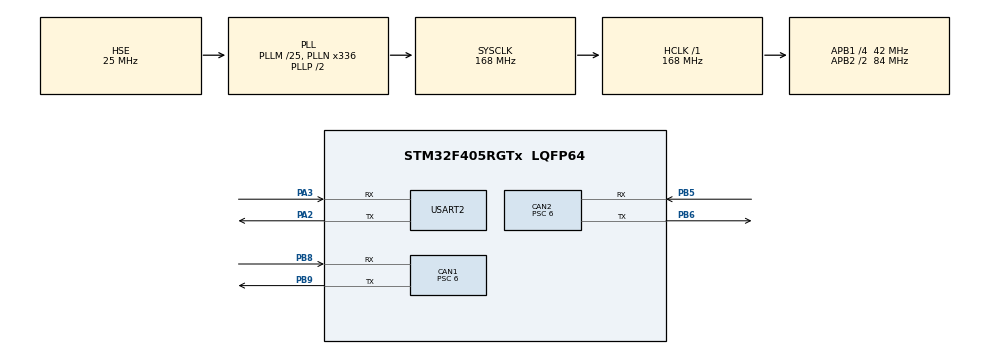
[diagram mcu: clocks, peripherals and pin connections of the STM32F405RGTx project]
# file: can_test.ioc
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CAN1.BS1=CAN_BS1_4TQ
CAN1.BS2=CAN_BS2_2TQ
CAN1.CalculateBaudRate=1000000
CAN1.CalculateTimeBit=1000
CAN1.CalculateTimeQuantum=142.85714285714286
CAN1.Prescaler=6
CAN2.BS1=CAN_BS1_4TQ
CAN2.BS2=CAN_BS2_2TQ
CAN2.CalculateBaudRate=1000000
CAN2.CalculateTimeBit=1000
CAN2.CalculateTimeQuantum=142.85714285714286
CAN2.Prescaler=6
Mcu.Family=STM32F4
Mcu.Name=STM32F405RGTx
Mcu.Package=LQFP64
NVIC.CAN1_RX0_IRQn=true\:0\:0\:false\:false\:true\:true\:true\:true
NVIC.CAN1_SCE_IRQn=true\:0\:0\:false\:false\:true\:true\:true\:true
NVIC.CAN2_RX1_IRQn=true\:0\:0\:false\:false\:true\:true\:true\:true
NVIC.CAN2_SCE_IRQn=true\:0\:0\:false\:false\:true\:true\:true\:true
NVIC.PriorityGroup=NVIC_PRIORITYGROUP_4
PA13.Mode=Serial_Wire
PA13.Signal=SYS_JTMS-SWDIO
PA14.Mode=Serial_Wire
PA14.Signal=SYS_JTCK-SWCLK
PA2.Mode=Asynchronous
PA2.Signal=USART2_TX
PA3.Mode=Asynchronous
PA3.Signal=USART2_RX
PB5.Mode=CAN_Activate
PB5.Signal=CAN2_RX
PB6.Mode=CAN_Activate
PB6.Signal=CAN2_TX
PB8.Mode=CAN_Activate
PB8.Signal=CAN1_RX
PB9.Mode=CAN_Activate
PB9.Signal=CAN1_TX
PC14-OSC32_IN.Mode=LSE-External-Oscillator
PC14-OSC32_IN.Signal=RCC_OSC32_IN
PC15-OSC32_OUT.Mode=LSE-External-Oscillator
PC15-OSC32_OUT.Signal=RCC_OSC32_OUT
PH0-OSC_IN.Mode=HSE-External-Oscillator
PH0-OSC_IN.Signal=RCC_OSC_IN
PH1-OSC_OUT.Mode=HSE-External-Oscillator
PH1-OSC_OUT.Signal=RCC_OSC_OUT
ProjectManager.HeapSize=0x200
ProjectManager.StackSize=0x400
ProjectManager.TargetToolchain=MDK-ARM V5
RCC.48MHZClocksFreq_Value=84000000
RCC.AHBFreq_Value=168000000
RCC.APB1CLKDivider=RCC_HCLK_DIV4
RCC.APB1Freq_Value=42000000
RCC.APB1TimFreq_Value=84000000
RCC.APB2CLKDivider=RCC_HCLK_DIV2
RCC.APB2Freq_Value=84000000
RCC.APB2TimFreq_Value=168000000
RCC.CortexFreq_Value=168000000
RCC.HCLKFreq_Value=168000000
RCC.HSE_VALUE=25000000
RCC.HSI_VALUE=16000000
RCC.PLLM=25
RCC.PLLN=336
RCC.PLLSourceVirtual=RCC_PLLSOURCE_HSE
RCC.SYSCLKFreq_VALUE=168000000
RCC.SYSCLKSource=RCC_SYSCLKSOURCE_PLLCLK
RCC.VCOOutputFreq_Value=336000000
USART2.VirtualMode=VM_ASYNC
board=custom

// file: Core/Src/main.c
/* USER CODE BEGIN Header */
/**
  ******************************************************************************
  * @file           : main.c
  * @brief          : Main program body
  ******************************************************************************
  * @attention
  *
  * Copyright (c) 2023 STMicroelectronics.
  * All rights reserved.
  *
  * This software is licensed under terms that can be found in the LICENSE file
  * in the root directory of this software component.
  * If no LICENSE file comes with this software, it is provided AS-IS.
  *
  ******************************************************************************
  */
/* USER CODE END Header */
#include "main.h"
#include "can.h"
#include "usart.h"
#include "gpio.h"

/* USER CODE BEGIN Includes */
#include "can_bsp.h"
#include "stdio.h"
#include "RM3508.h"
/* USER CODE END Includes */

void SystemClock_Config(void);

/* USER CODE BEGIN 0 */
int fputc(int ch, FILE *f)
{
  HAL_UART_Transmit(&huart2, (uint8_t *)&ch, 1, 0xffff);
  return ch;
}

int value1 = 1000;

/* USER CODE END 0 */

int main(void)
{

  /* MCU Configuration--------------------------------------------------------*/

  /* Reset of all peripherals, Initializes the Flash interface and the Systick. */
  HAL_Init();

  /* USER CODE BEGIN Init */

//	RCC_APB1PeriphClockCmd(RCC_APB1Periph_CAN1, ENABLE);//使能CAN1时钟
//	RCC_APB1PeriphClockCmd(RCC_APB1Periph_CAN2, ENABLE);//使能CAN2时钟

  /* USER CODE END Init */

  /* Configure the system clock */
  SystemClock_Config();

  /* Initialize all configured peripherals */
  MX_GPIO_Init();
  MX_CAN1_Init();
  MX_CAN2_Init();
  MX_USART2_UART_Init();
  /* USER CODE BEGIN 2 */
	CAN_Init(&hcan1);
	CAN_Init(&hcan2);

  /* USER CODE END 2 */

  /* Infinite loop */
  /* USER CODE BEGIN WHILE */
  int32_t speed;
  int32_t I;
  int32_t Pos;
//  RM3508_Set_Speed(1000,2);

  while (1)
  {
//	  for(int i=0; i<2000; i++)
//	  {
	  RM3508_Set_Speed(value1,1);
	  HAL_Delay(1);
//	  RM3508_Set_Speed(-1000,2);
	  HAL_Delay(1);

////	  }
//	  for(int i=0; i<2000; i++)
//	  {
//	  RM3508_Set_Speed(-1000,1);
//	  HAL_Delay(1);
//
//	  }

//	  RM3508_Set_I(300,1);
//	  RM3508_Set_Pos(4000,1);
	  speed = RM3508_Get_Speed(1);
	  I = RM3508_Get_Torque(1);
	  Pos = RM3508_Get_Pos(1);
	  printf("A:%d,%d,%d\n",speed,I,Pos);
//	  printf("B:%d\n",I);
//	  printf("C:%d\n",Pos);

//	  for(uint16_t i=0;i<8000;i++)
//	  {
//		  RM3508_Set_Pos(i,4);
//
//		  HAL_Delay(1);
//	  }
    /* USER CODE END WHILE */

  }
}

void SystemClock_Config(void)
{
  RCC_OscInitTypeDef RCC_OscInitStruct = {0};
  RCC_ClkInitTypeDef RCC_ClkInitStruct = {0};

  /** Configure the main internal regulator output voltage
  */
  __HAL_RCC_PWR_CLK_ENABLE();
  __HAL_PWR_VOLTAGESCALING_CONFIG(PWR_REGULATOR_VOLTAGE_SCALE1);

  /** Initializes the RCC Oscillators according to the specified parameters
  * in the RCC_OscInitTypeDef structure.
  */
  RCC_OscInitStruct.OscillatorType = RCC_OSCILLATORTYPE_HSE;
  RCC_OscInitStruct.HSEState = RCC_HSE_ON;
  RCC_OscInitStruct.PLL.PLLState = RCC_PLL_ON;
  RCC_OscInitStruct.PLL.PLLSource = RCC_PLLSOURCE_HSE;
  RCC_OscInitStruct.PLL.PLLM = 25;
  RCC_OscInitStruct.PLL.PLLN = 336;
  RCC_OscInitStruct.PLL.PLLP = RCC_PLLP_DIV2;
  RCC_OscInitStruct.PLL.PLLQ = 4;
  if (HAL_RCC_OscConfig(&RCC_OscInitStruct) != HAL_OK)
  {
    Error_Handler();
  }

  /** Initializes the CPU, AHB and APB buses clocks
  */
  RCC_ClkInitStruct.ClockType = RCC_CLOCKTYPE_HCLK|RCC_CLOCKTYPE_SYSCLK
                              |RCC_CLOCKTYPE_PCLK1|RCC_CLOCKTYPE_PCLK2;
  RCC_ClkInitStruct.SYSCLKSource = RCC_SYSCLKSOURCE_PLLCLK;
  RCC_ClkInitStruct.AHBCLKDivider = RCC_SYSCLK_DIV1;
  RCC_ClkInitStruct.APB1CLKDivider = RCC_HCLK_DIV4;
  RCC_ClkInitStruct.APB2CLKDivider = RCC_HCLK_DIV2;

  if (HAL_RCC_ClockConfig(&RCC_ClkInitStruct, FLASH_LATENCY_5) != HAL_OK)
  {
    Error_Handler();
  }
}

/* USER CODE BEGIN 4 */

 void HAL_CAN_RxFifo0MsgPendingCallback(CAN_HandleTypeDef *hcan)
{
	if(hcan->Instance == hcan1.Instance)
	{
		CAN_RxHeaderTypeDef RxMessage;
		uint8_t RxData[8] = {0};

		HAL_CAN_GetRxMessage(hcan, CAN_RX_FIFO0, &RxMessage, RxData);
		if(RxMessage.StdId>=0x201 && RxMessage.StdId<=0x208)
		{
			RM3508_Get_Feedback(RxMessage.StdId,RxData);
		}

	}
 }

 void HAL_CAN_RxFifo1MsgPendingCallback(CAN_HandleTypeDef *hcan)
{
	if(hcan->Instance == hcan2.Instance)
	{
		CAN_RxHeaderTypeDef RxMessage;
		uint8_t RxData[8] = {0};

		HAL_CAN_GetRxMessage(hcan, CAN_RX_FIFO1, &RxMessage, RxData);
		if(RxMessage.StdId>=0x201 && RxMessage.StdId<=0x208)
		{
			RM3508_Get_Feedback(RxMessage.StdId,RxData);
		}

	}
 }

//void HAL_CAN_RxFifo0MsgPendingCallback(CAN_HandleTypeDef *hcan)
//{
//  if (hcan->Instance == hcan1.Instance)
//  {
//    CAN_RxHeaderTypeDef RxMessage;
//    uint8_t RxData[8] = {0};
//    HAL_CAN_GetRxMessage(hcan, CAN_RX_FIFO0, &RxMessage, RxData);

//    if (RxMessage.IDE == CAN_ID_STD)
//		{
//			if (RxMessage.StdId >= 0x201 && RxMessage.StdId <= 0x208)
//			{
//				RM3508_Get_Feedback(RxMessage.StdId, RxData);
////				RM3508_Set_Speed(1000,2);

//			}
//		}
//  }
//}

/* USER CODE END 4 */

void Error_Handler(void)
{
  __disable_irq();
  while (1)
  {
  }
}
